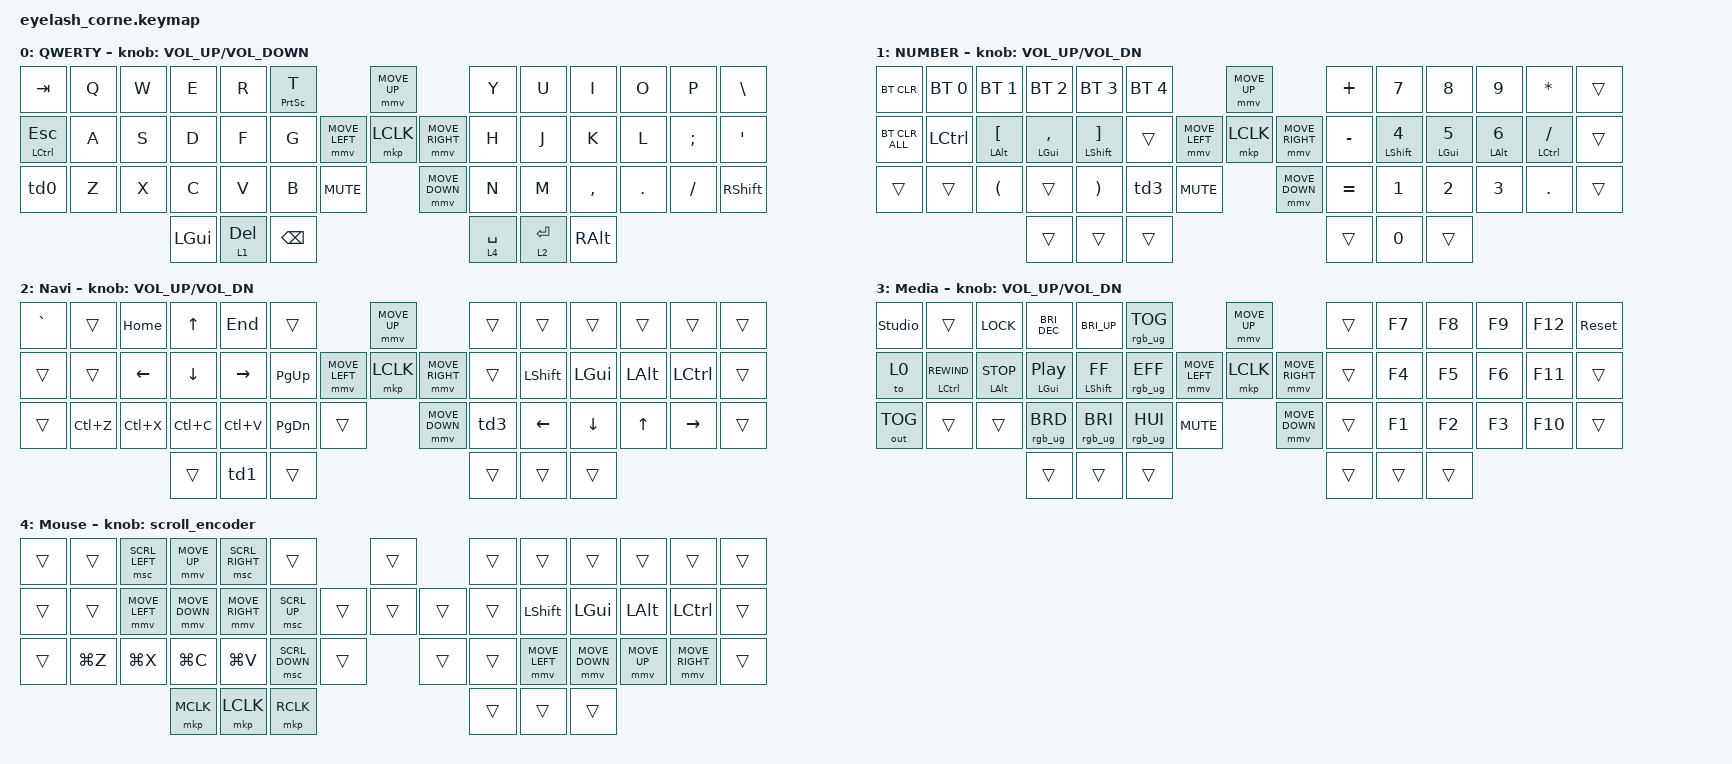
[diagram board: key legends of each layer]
#define ZMK_POINTING_DEFAULT_MOVE_VAL 1200  // 600
#define ZMK_POINTING_DEFAULT_SCRL_VAL 25   // 10

#include <input/processors.dtsi>
#include <zephyr/dt-bindings/input/input-event-codes.h>
#include <behaviors.dtsi>
#include <dt-bindings/zmk/bt.h>
#include <dt-bindings/zmk/keys.h>
#include <dt-bindings/zmk/outputs.h>
#include <dt-bindings/zmk/pointing.h>
#include <dt-bindings/zmk/rgb.h>

&mmv_input_listener { input-processors = <&zip_xy_scaler 2 1>; };

&msc_input_listener { input-processors = <&zip_scroll_scaler 2 1>; };

&msc {
    acceleration-exponent = <1>;      // 0
    time-to-max-speed-ms = <100>;       // 300
    delay-ms = <0>;                   // 0
};

&mmv {
    time-to-max-speed-ms = <500>;
    acceleration-exponent = <1>;
    trigger-period-ms = <16>;
};

&soft_off { hold-time-ms = <2000>; };

&mt { flavor = "tap-preferred"; };

/ {
    behaviors {
        td0: td0 {
            compatible = "zmk,behavior-tap-dance";
            display-name = "Shift/Caps Lock Tap Dance";
            #binding-cells = <0>;
            bindings = <&kp LEFT_SHIFT>, <&kp CAPS>;
        };

        td1: td1 {
            compatible = "zmk,behavior-tap-dance";
            display-name = "Shift/Caps Lock Tap Dance";
            #binding-cells = <0>;
            bindings = <&mo 3>, <&to 3>;

            label = "TD1";
        };

        td3: td3 {
            compatible = "zmk,behavior-tap-dance";
            display-name = "Shift/Caps Lock Tap Dance";
            #binding-cells = <0>;
            bindings = <&none>, <&kp LA(F4)>;

            label = "TD3";
        };

        mth: mth {
            compatible = "zmk,behavior-hold-tap";
            label = "MTH";
            bindings = <&kp>, <&kp>;

            #binding-cells = <2>;
            tapping-term-ms = <200>;
        };
    };

    rgb_encoder: rgb_encoder {
        compatible = "zmk,behavior-sensor-rotate";
        #sensor-binding-cells = <0>;
        bindings = <&rgb_ug RGB_BRI>, <&rgb_ug RGB_BRD>;
    };

    scroll_encoder: scroll_encoder {
        compatible = "zmk,behavior-sensor-rotate";
        #sensor-binding-cells = <0>;
        bindings = <&msc SCRL_DOWN>, <&msc SCRL_UP>;

        tap-ms = <100>;
    };

    combos {
        compatible = "zmk,combos";

        alt-tab {
            bindings = <&kp LA(TAB)>;
            key-positions = <32 31>;
        };

        grave {
            bindings = <&kp GRAVE>;
            key-positions = <1 0>;
        };
    };

    keymap {
        compatible = "zmk,keymap";

        Base {
            display-name = "QWERTY";
            bindings = <
&kp TAB         &kp Q  &kp W  &kp E     &kp R         &mt PRINTSCREEN T                                &mmv MOVE_UP                     &kp Y        &kp U        &kp I      &kp O    &kp P     &kp BACKSLASH
&mth LCTRL ESC  &kp A  &kp S  &kp D     &kp F         &kp G                            &mmv MOVE_LEFT  &mkp LCLK       &mmv MOVE_RIGHT  &kp H        &kp J        &kp K      &kp L    &kp SEMI  &kp SQT
&td0            &kp Z  &kp X  &kp C     &kp V         &kp B              &kp C_MUTE                    &mmv MOVE_DOWN                   &kp N        &kp M        &kp COMMA  &kp DOT  &kp FSLH  &kp RIGHT_SHIFT
                              &kp LGUI  &lt 1 DELETE  &kp BACKSPACE                                                                     &lt 4 SPACE  &lt 2 ENTER  &kp RALT
            >;

            sensor-bindings = <&inc_dec_kp C_VOLUME_UP C_VOLUME_DOWN>;
        };

        num {
            display-name = "NUMBER";
            bindings = <
&bt BT_CLR      &bt BT_SEL 0  &bt BT_SEL 1               &bt BT_SEL 2        &bt BT_SEL 3                  &bt BT_SEL 4                                &mmv MOVE_UP                     &kp PLUS   &kp N7             &kp N8           &kp N9           &kp ASTRK        &trans
&bt BT_CLR_ALL  &kp LCTRL     &mt LEFT_ALT LEFT_BRACKET  &mt LEFT_GUI COMMA  &mt LEFT_SHIFT RIGHT_BRACKET  &trans                      &mmv MOVE_LEFT  &mkp LCLK       &mmv MOVE_RIGHT  &kp MINUS  &mt LEFT_SHIFT N4  &mt LEFT_GUI N5  &mt LEFT_ALT N6  &mt LCTRL SLASH  &trans
&trans          &trans        &kp LEFT_PARENTHESIS       &trans              &kp RIGHT_PARENTHESIS         &td3          &kp C_MUTE                    &mmv MOVE_DOWN                   &kp EQUAL  &kp N1             &kp N2           &kp N3           &kp PERIOD       &trans
                                                         &trans              &trans                        &trans                                                                       &trans     &kp N0             &trans
            >;

            sensor-bindings = <&inc_dec_kp C_VOLUME_UP C_VOL_DN>;
        };

        nav {
            display-name = "Navi";
            bindings = <
&kp GRAVE  &trans     &kp HOME        &kp UP_ARROW    &kp END          &trans                                 &mmv MOVE_UP                     &trans  &trans          &trans          &trans        &trans           &trans
&trans     &trans     &kp LEFT_ARROW  &kp DOWN_ARROW  &kp RIGHT_ARROW  &kp PAGE_UP            &mmv MOVE_LEFT  &mkp LCLK       &mmv MOVE_RIGHT  &trans  &kp LEFT_SHIFT  &kp LEFT_GUI    &kp LEFT_ALT  &kp LCTRL        &trans
&trans     &kp LC(Z)  &kp LC(X)       &kp LC(C)       &kp LC(V)        &kp PG_DN    &trans                    &mmv MOVE_DOWN                   &td3    &kp LEFT_ARROW  &kp DOWN_ARROW  &kp UP_ARROW  &kp RIGHT_ARROW  &trans
                                      &trans          &td1             &trans                                                                  &trans  &trans          &trans
            >;

            sensor-bindings = <&inc_dec_kp C_VOLUME_UP C_VOL_DN>;
        };

        media {
            display-name = "Media";
            bindings = <
&studio_unlock  &trans              &kp K_LOCK           &kp C_BRIGHTNESS_DEC       &kp C_BRI_UP         &rgb_ug RGB_TOG                                &mmv MOVE_UP                     &trans  &kp F7  &kp F8  &kp F9  &kp F12  &sys_reset
&to 0           &mt LCTRL C_REWIND  &mt LEFT_ALT C_STOP  &mt LEFT_GUI C_PLAY_PAUSE  &mt LEFT_SHIFT C_FF  &rgb_ug RGB_EFF                &mmv MOVE_LEFT  &mkp LCLK       &mmv MOVE_RIGHT  &trans  &kp F4  &kp F5  &kp F6  &kp F11  &trans
&out OUT_TOG    &trans              &trans               &rgb_ug RGB_BRD            &rgb_ug RGB_BRI      &rgb_ug RGB_HUI  &kp C_MUTE                    &mmv MOVE_DOWN                   &trans  &kp F1  &kp F2  &kp F3  &kp F10  &trans
                                                         &trans                     &trans               &trans                                                                          &trans  &trans  &trans
            >;

            sensor-bindings = <&inc_dec_kp C_VOLUME_UP C_VOL_DN>;
        };

        mouse {
            display-name = "Mouse";
            bindings = <
&trans  &trans     &msc SCRL_LEFT  &mmv MOVE_UP    &msc SCRL_RIGHT  &trans                            &trans          &trans  &trans          &trans          &trans        &trans           &trans
&trans  &trans     &mmv MOVE_LEFT  &mmv MOVE_DOWN  &mmv MOVE_RIGHT  &msc SCRL_UP              &trans  &trans  &trans  &trans  &kp LEFT_SHIFT  &kp LEFT_GUI    &kp LEFT_ALT  &kp LCTRL        &trans
&trans  &kp LG(Z)  &kp LG(X)       &kp LG(C)       &kp LG(V)        &msc SCRL_DOWN  &trans            &trans          &trans  &mmv MOVE_LEFT  &mmv MOVE_DOWN  &mmv MOVE_UP  &mmv MOVE_RIGHT  &trans
                                   &mkp MCLK       &mkp LCLK        &mkp RCLK                                         &trans  &trans          &trans
            >;

            sensor-bindings = <&scroll_encoder>;
        };
    };
};
